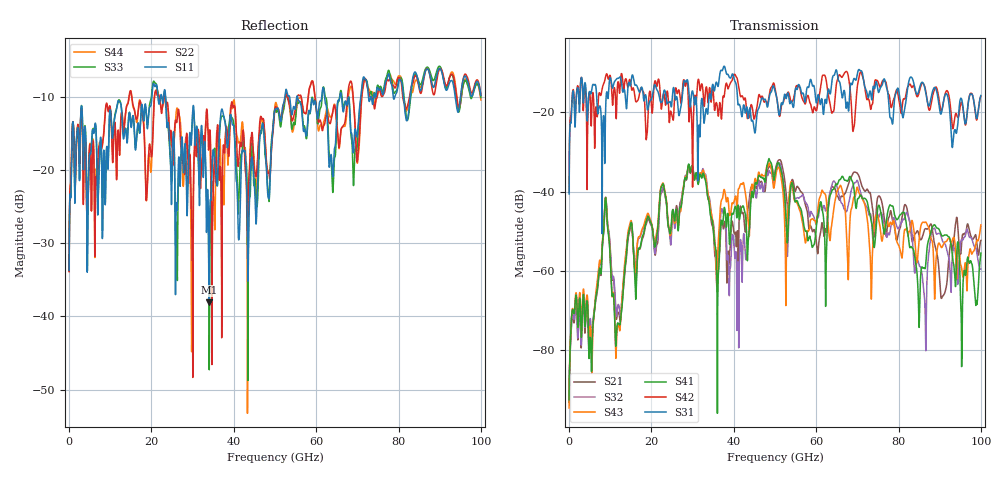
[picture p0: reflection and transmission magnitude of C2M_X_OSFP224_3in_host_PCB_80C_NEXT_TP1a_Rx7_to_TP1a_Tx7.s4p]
# GHz S RI R 45
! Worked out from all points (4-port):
!   4000 points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, 25 MHz to 100 GHz, reference 45 ohm
!   strongest paths, dB at 25 MHz, 25.02 GHz, 50.02 GHz, 75.03 GHz, 100 GHz:
!     S31: -40.5, -16.6, -14.8, -14.6, -15.7
!     S42: -40.1, -20.8, -13.9, -12.3, -15.9
!     S41: -92.5, -45.4, -35.5, -43.8, -55.5
!     S43: -94.5, -46.8, -37.1, -46.3, -48.4
!     S32: -92.3, -48.0, -36.8, -46.0, -59.5
!     S21: -93.1, -46.1, -34.9, -41.3, -52.3
!   lowest |S11| = -38.1 dB at 33.98 GHz (marker M1), VSWR 1.03, Z = 43.9 - j0.0723 ohm
!   |S11| at or under -10 dB: start of sweep to 20.12 GHz; 23.45 GHz to 52.39 GHz (28.94 GHz wide, 76.3 % of centre); 55.5 GHz to 61.36 GHz (5.865 GHz wide, 10 % of centre) (the widest 3 of 14)
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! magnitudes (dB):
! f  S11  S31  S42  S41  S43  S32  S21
! 25 MHz  -33.7  -40.5  -40.1  -92.5  -94.5  -92.3  -93.1
! 5.275 GHz  -17.7  -15.3  -19.7  -78.1  -74.5  -72.9  -74.9
! 8.925 GHz  -21.1  -17.9  -10.7  -41.7  -41.5  -41.4  -41.6
! 11.7 GHz  -11.1  -11.4  -14.4  -73.5  -74.3  -69.7  -71.0
! 14.8 GHz  -12.5  -13.2  -11.8  -49.0  -48.1  -48.8  -49.6
! 33.98 GHz  -38.1  -16.1  -14.8  -42.5  -41.6  -41.2  -42.3
! 100 GHz  -9.8  -15.7  -15.9  -55.5  -48.4  -59.5  -52.3
